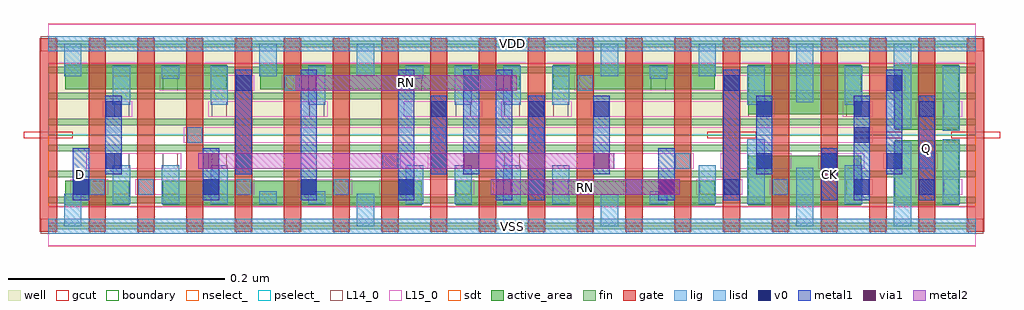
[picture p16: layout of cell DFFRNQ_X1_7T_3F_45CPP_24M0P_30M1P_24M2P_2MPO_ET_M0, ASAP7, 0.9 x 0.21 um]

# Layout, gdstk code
import gdstk
lib = gdstk.Library(unit=1e-6, precision=2.5e-10)
def R(c, l, rs):  # rectangles x0, y0, x1, y1
    for r in rs: c.add(gdstk.rectangle(r[:2], r[2:], *l))
def A(c, l, x, y, w, h, nx, ny, dx, dy):  # array of equal rectangles
    R(c, l, [(x+i*dx, y+j*dy, x+i*dx+w, y+j*dy+h) for i in range(nx) for j in range(ny)])
well = (1, 0)
fin = (2, 0)
gate = (7, 0)
gcut = (10, 0)
active_area = (11, 0)
nselect_ = (12, 0)
pselect_ = (13, 0)
L14_0 = (14, 0)
L15_0 = (15, 0)
lig = (16, 0)
lisd = (17, 0)
v0 = (18, 0)
metal1 = (19, 0)
metal2 = (20, 0)
via1 = (21, 0)
sdt = (88, 0)
boundary = (100, 0)

dffrnq_x1_7t_3f_45cpp_24 = lib.new_cell('DFFRNQ_X1_7T_3F_45CPP_24M0P_30M1P_24M2P_2MPO_ET_M0')
R(dffrnq_x1_7t_3f_45cpp_24, well, [(0,0.084,0.855,0.168)])
A(dffrnq_x1_7t_3f_45cpp_24, fin, 0, -0.003, 0.855, 0.006, 1, 8, 0, 0.024)
A(dffrnq_x1_7t_3f_45cpp_24, gate, -0.008, -0.005, 0.016, 0.178, 20, 1, 0.045, 0)
R(dffrnq_x1_7t_3f_45cpp_24, gcut, [(0,-0.0185,0.855,0.0185), (-0.0225,0.081,0.0225,0.087), (0.6075,0.081,0.6525,0.087), (0.7425,0.081,0.7875,0.087), (0.8325,0.081,0.8775,0.087), (0,0.1495,0.855,0.1865)])
A(dffrnq_x1_7t_3f_45cpp_24, active_area, 0.1055, 0.019, 0.059, 0.023, 5, 1, 0.045, 0)
A(dffrnq_x1_7t_3f_45cpp_24, active_area, 0.3755, 0.019, 0.059, 0.023, 5, 1, 0.045, 0)
A(dffrnq_x1_7t_3f_45cpp_24, active_area, 0.0155, 0.126, 0.059, 0.023, 3, 1, 0.045, 0)
A(dffrnq_x1_7t_3f_45cpp_24, active_area, 0.1955, 0.126, 0.059, 0.023, 5, 1, 0.045, 0)
A(dffrnq_x1_7t_3f_45cpp_24, active_area, 0.4655, 0.126, 0.059, 0.023, 3, 1, 0.045, 0)
R(dffrnq_x1_7t_3f_45cpp_24, active_area, [(0.0155,0.019,0.0745,0.042), (0.6455,0.019,0.7045,0.065), (0.6905,0.019,0.7495,0.065), (0.7805,0.019,0.8395,0.079), (0.7805,0.089,0.8395,0.149), (0.6455,0.103,0.7045,0.149), (0.6905,0.103,0.7495,0.149)])
R(dffrnq_x1_7t_3f_45cpp_24, nselect_, [(0,0,0.855,0.084)])
R(dffrnq_x1_7t_3f_45cpp_24, pselect_, [(0,0.084,0.855,0.168)])
A(dffrnq_x1_7t_3f_45cpp_24, L14_0, -0.007, -0.007, 0.014, 0.014, 20, 2, 0.045, 0.168)
A(dffrnq_x1_7t_3f_45cpp_24, L14_0, 0.083, 0.029, 0.014, 0.014, 3, 1, 0.09, 0)
A(dffrnq_x1_7t_3f_45cpp_24, L14_0, 0.4655, 0.029, 0.014, 0.014, 5, 1, 0.0675, 0)
A(dffrnq_x1_7t_3f_45cpp_24, L14_0, 0.0605, 0.053, 0.014, 0.014, 3, 1, 0.045, 0)
A(dffrnq_x1_7t_3f_45cpp_24, L14_0, 0.578, 0.053, 0.014, 0.014, 3, 1, 0.0675, 0)
A(dffrnq_x1_7t_3f_45cpp_24, L14_0, 0.0605, 0.101, 0.014, 0.014, 3, 1, 0.09, 0)
A(dffrnq_x1_7t_3f_45cpp_24, L14_0, 0.3755, 0.101, 0.014, 0.014, 3, 1, 0.045, 0)
A(dffrnq_x1_7t_3f_45cpp_24, L14_0, 0.6455, 0.101, 0.014, 0.014, 3, 1, 0.09, 0)
A(dffrnq_x1_7t_3f_45cpp_24, L14_0, 0.1055, 0.125, 0.014, 0.014, 3, 1, 0.1125, 0)
R(dffrnq_x1_7t_3f_45cpp_24, L14_0, [(0.038,0.029,0.052,0.043), (0.3305,0.029,0.3445,0.043), (0.3755,0.029,0.3895,0.043), (0.8255,0.029,0.8395,0.043), (0.308,0.053,0.322,0.067), (0.4205,0.053,0.4345,0.067), (0.803,0.053,0.817,0.067), (0.128,0.077,0.142,0.091), (0.353,0.077,0.367,0.091), (0.443,0.077,0.457,0.091), (0.398,0.125,0.412,0.139), (0.488,0.125,0.502,0.139), (0.5555,0.125,0.5695,0.139)])
R(dffrnq_x1_7t_3f_45cpp_24, L15_0, [(0,-0.018,0.855,0.018), (0.02,0.029,0.055,0.043), (0.08,0.029,0.19,0.043), (0.23,0.029,0.28,0.043), (0.305,0.029,0.3925,0.043), (0.44,0.029,0.4825,0.043), (0.53,0.029,0.58,0.043), (0.5975,0.029,0.64,0.043), (0.665,0.029,0.76,0.043), (0.8,0.029,0.8425,0.043), (0.035,0.053,0.1225,0.067), (0.1475,0.053,0.325,0.067), (0.35,0.053,0.595,0.067), (0.62,0.053,0.685,0.067), (0.71,0.053,0.7525,0.067), (0.77,0.053,0.82,0.067), (0.125,0.077,0.76,0.091), (0.05,0.101,0.0775,0.115), (0.1475,0.101,0.2575,0.115), (0.3275,0.101,0.4,0.115), (0.4175,0.101,0.4825,0.115), (0.5,0.101,0.67,0.115), (0.7325,0.101,0.76,0.115), (0.8,0.101,0.8425,0.115), (0.1025,0.125,0.19,0.139), (0.215,0.125,0.3475,0.139), (0.38,0.125,0.415,0.139), (0.485,0.125,0.79,0.139), (0,0.15,0.855,0.186)])
A(dffrnq_x1_7t_3f_45cpp_24, lig, 0.083, 0.029, 0.014, 0.014, 3, 1, 0.09, 0)
R(dffrnq_x1_7t_3f_45cpp_24, lig, [(0,-0.007,0.855,0.007), (0.038,0.029,0.052,0.043), (0.533,0.029,0.547,0.043), (0.668,0.029,0.682,0.043), (0.308,0.053,0.322,0.067), (0.578,0.053,0.592,0.067), (0.713,0.053,0.727,0.067), (0.803,0.053,0.817,0.067), (0.128,0.077,0.142,0.091), (0.353,0.077,0.367,0.091), (0.443,0.077,0.457,0.091), (0.218,0.125,0.232,0.139), (0.398,0.125,0.412,0.139), (0.488,0.125,0.502,0.139), (0,0.161,0.855,0.175)])
A(dffrnq_x1_7t_3f_45cpp_24, lisd, 0.0595, 0.02, 0.016, 0.036, 3, 1, 0.045, 0)
A(dffrnq_x1_7t_3f_45cpp_24, lisd, 0.3295, 0.02, 0.016, 0.036, 4, 1, 0.045, 0)
A(dffrnq_x1_7t_3f_45cpp_24, lisd, 0.0595, 0.112, 0.016, 0.036, 3, 1, 0.09, 0)
A(dffrnq_x1_7t_3f_45cpp_24, lisd, 0.3745, 0.112, 0.016, 0.036, 3, 1, 0.045, 0)
A(dffrnq_x1_7t_3f_45cpp_24, lisd, 0.1045, 0.136, 0.016, 0.012, 3, 1, 0.225, 0)
R(dffrnq_x1_7t_3f_45cpp_24, lisd, [(0.0145,0,0.0305,0.03), (0.2845,0,0.3005,0.03), (0.5095,0,0.5255,0.03), (0.6895,0,0.7055,0.054), (0.7795,0,0.7955,0.078), (0.1945,0.02,0.2105,0.032), (0.2395,0.02,0.2555,0.032), (0.5545,0.02,0.5705,0.032), (0.5995,0.02,0.6155,0.056), (0.6445,0.02,0.6605,0.08), (0.7345,0.02,0.7505,0.056), (0.8245,0.02,0.8405,0.08), (0.8245,0.088,0.8405,0.148), (0.7795,0.09,0.7955,0.168), (0.6445,0.112,0.6605,0.148), (0.7345,0.112,0.7505,0.148), (0.6895,0.114,0.7055,0.168), (0.0145,0.138,0.0305,0.168), (0.1945,0.138,0.2105,0.168), (0.2845,0.138,0.3005,0.168), (0.5095,0.138,0.5255,0.168), (0.5995,0.138,0.6155,0.168)])
A(dffrnq_x1_7t_3f_45cpp_24, v0, 0.143, 0.029, 0.014, 0.014, 3, 1, 0.09, 0)
A(dffrnq_x1_7t_3f_45cpp_24, v0, 0.653, 0.053, 0.014, 0.014, 3, 1, 0.06, 0)
R(dffrnq_x1_7t_3f_45cpp_24, v0, [(0.023,0.029,0.037,0.043), (0.443,0.029,0.457,0.043), (0.563,0.029,0.577,0.043), (0.623,0.029,0.637,0.043), (0.743,0.029,0.757,0.043), (0.803,0.029,0.817,0.043), (0.053,0.053,0.067,0.067), (0.173,0.053,0.187,0.067), (0.353,0.053,0.367,0.067), (0.743,0.077,0.757,0.091), (0.053,0.101,0.067,0.115), (0.353,0.101,0.367,0.115), (0.443,0.101,0.457,0.115), (0.503,0.101,0.517,0.115), (0.653,0.101,0.667,0.115), (0.743,0.101,0.757,0.115), (0.803,0.101,0.817,0.115), (0.173,0.125,0.187,0.139), (0.323,0.125,0.337,0.139), (0.383,0.125,0.397,0.139), (0.623,0.125,0.637,0.139), (0.773,0.125,0.787,0.139)])
A(dffrnq_x1_7t_3f_45cpp_24, metal1, 0.2325, 0.024, 0.015, 0.12, 3, 1, 0.09, 0)
A(dffrnq_x1_7t_3f_45cpp_24, metal1, 0.3525, 0.048, 0.015, 0.072, 3, 1, 0.15, 0)
R(dffrnq_x1_7t_3f_45cpp_24, metal1, [(0.0225,0.024,0.0375,0.072), (0.1425,0.024,0.1575,0.072), (0.4425,0.024,0.4575,0.12), (0.5625,0.024,0.5775,0.072), (0.6225,0.024,0.6375,0.144), (0.7125,0.024,0.7275,0.072), (0.7425,0.024,0.7575,0.12), (0.8025,0.024,0.8175,0.12), (0.0525,0.048,0.0675,0.12), (0.1725,0.048,0.1875,0.144), (0.3825,0.048,0.3975,0.144), (0.7725,0.048,0.7875,0.144)])
R(dffrnq_x1_7t_3f_45cpp_24, metal2, [(0.408,0.029,0.582,0.043), (0.138,0.053,0.522,0.067), (0.228,0.125,0.432,0.139)])
R(dffrnq_x1_7t_3f_45cpp_24, via1, [(0.413,0.029,0.427,0.043), (0.563,0.029,0.577,0.043), (0.143,0.053,0.157,0.067), (0.383,0.053,0.397,0.067), (0.503,0.053,0.517,0.067), (0.233,0.125,0.247,0.139), (0.413,0.125,0.427,0.139)])
A(dffrnq_x1_7t_3f_45cpp_24, sdt, 0.0145, 0.024, 0.016, 0.006, 14, 2, 0.045, 0.114)
A(dffrnq_x1_7t_3f_45cpp_24, sdt, 0.6445, 0.024, 0.016, 0.03, 3, 2, 0.045, 0.09)
R(dffrnq_x1_7t_3f_45cpp_24, sdt, [(0.7795,0.024,0.7955,0.078), (0.8245,0.024,0.8405,0.078), (0.7795,0.09,0.7955,0.144), (0.8245,0.09,0.8405,0.144)])
R(dffrnq_x1_7t_3f_45cpp_24, boundary, [(0,0,0.855,0.168)])
dffrnq_x1_7t_3f_45cpp_24.add(gdstk.Label('Q', (0.81,0.072), layer=19, texttype=251))
dffrnq_x1_7t_3f_45cpp_24.add(gdstk.Label('RN', (0.495,0.036), layer=20, texttype=251))
dffrnq_x1_7t_3f_45cpp_24.add(gdstk.Label('RN', (0.33,0.132), layer=20, texttype=251))
dffrnq_x1_7t_3f_45cpp_24.add(gdstk.Label('D', (0.03,0.048), layer=19, texttype=251))
dffrnq_x1_7t_3f_45cpp_24.add(gdstk.Label('CK', (0.72,0.048), layer=19, texttype=251))
dffrnq_x1_7t_3f_45cpp_24.add(gdstk.Label('VDD', (0.4275,0.168), layer=15, texttype=251))
dffrnq_x1_7t_3f_45cpp_24.add(gdstk.Label('VSS', (0.4275,0), layer=15, texttype=251))
dffrnq_x1_7t_3f_45cpp_24.add(gdstk.Label('VDD', (0.4275,0.168), layer=1, texttype=251))
dffrnq_x1_7t_3f_45cpp_24.add(gdstk.Label('VSS', (0.4275,0), layer=3, texttype=251))

lib.write_gds('DFFRNQ_X1_7T_3F_45CPP_24M0P_30M1P_24M2P_2MPO_ET_M0.gds')
